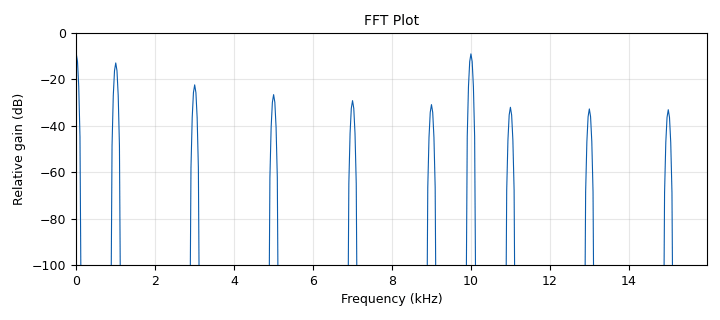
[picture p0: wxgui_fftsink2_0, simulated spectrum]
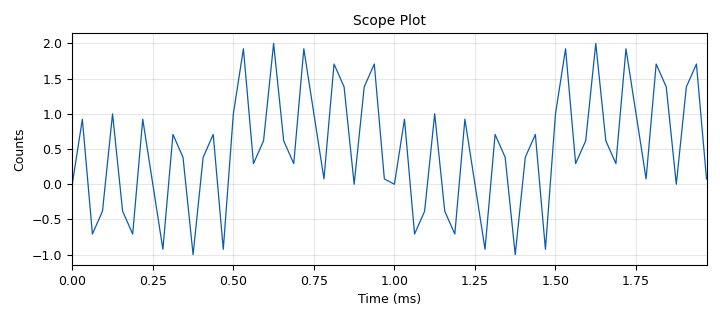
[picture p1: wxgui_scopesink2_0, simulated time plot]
<?xml version='1.0' encoding='utf-8'?>
<?grc format='1' created='3.7.9'?>
<flow_graph>
<block>
<key>options</key>
<param><key>id</key><value>top_block</value></param>
<param><key>category</key><value>Custom</value></param>
<param><key>generate_options</key><value>wx_gui</value></param>
</block>
<block>
<key>variable</key>
<param><key>id</key><value>samp_rate</value></param>
<param><key>value</key><value>variable_slider_0</value></param>
</block>
<block>
<key>variable_slider</key>
<param><key>id</key><value>variable_slider_0</value></param>
<param><key>converver</key><value>float_converter</value></param>
<param><key>value</key><value>32e3</value></param>
<param><key>label</key><value>sample rate</value></param>
<param><key>max</key><value>10e6</value></param>
<param><key>min</key><value>32e3</value></param>
<param><key>num_steps</key><value>10</value></param>
<param><key>style</key><value>wx.SL_HORIZONTAL</value></param>
</block>
<block>
<key>analog_sig_source_x</key>
<param><key>id</key><value>analog_sig_source_x_0</value></param>
<param><key>amp</key><value>1</value></param>
<param><key>freq</key><value>10e3</value></param>
<param><key>offset</key><value>0</value></param>
<param><key>type</key><value>float</value></param>
<param><key>samp_rate</key><value>samp_rate</value></param>
<param><key>waveform</key><value>analog.GR_SIN_WAVE</value></param>
</block>
<block>
<key>analog_sig_source_x</key>
<param><key>id</key><value>analog_sig_source_x_0_0</value></param>
<param><key>amp</key><value>1</value></param>
<param><key>freq</key><value>1e3</value></param>
<param><key>offset</key><value>0</value></param>
<param><key>type</key><value>float</value></param>
<param><key>samp_rate</key><value>samp_rate</value></param>
<param><key>waveform</key><value>analog.GR_SQR_WAVE</value></param>
</block>
<block>
<key>audio_sink</key>
<param><key>id</key><value>audio_sink_0</value></param>
<param><key>samp_rate</key><value>48000</value></param>
</block>
<block>
<key>blocks_add_xx</key>
<param><key>id</key><value>blocks_add_xx_0</value></param>
<param><key>type</key><value>float</value></param>
</block>
<block>
<key>blocks_throttle</key>
<param><key>id</key><value>blocks_throttle_0</value></param>
<param><key>_enabled</key><value>0</value></param>
<param><key>samples_per_second</key><value>samp_rate</value></param>
<param><key>type</key><value>complex</value></param>
</block>
<block>
<key>wxgui_fftsink2</key>
<param><key>id</key><value>wxgui_fftsink2_0</value></param>
<param><key>avg_alpha</key><value>0</value></param>
<param><key>average</key><value>False</value></param>
<param><key>baseband_freq</key><value>0</value></param>
<param><key>fft_size</key><value>1024</value></param>
<param><key>freqvar</key><value>None</value></param>
<param><key>peak_hold</key><value>False</value></param>
<param><key>ref_level</key><value>0</value></param>
<param><key>ref_scale</key><value>2.0</value></param>
<param><key>fft_rate</key><value>15</value></param>
<param><key>samp_rate</key><value>samp_rate</value></param>
<param><key>title</key><value>FFT Plot</value></param>
<param><key>type</key><value>float</value></param>
<param><key>win</key><value>None</value></param>
<param><key>y_divs</key><value>10</value></param>
<param><key>y_per_div</key><value>10</value></param>
</block>
<block>
<key>wxgui_scopesink2</key>
<param><key>id</key><value>wxgui_scopesink2_0</value></param>
<param><key>ac_couple</key><value>False</value></param>
<param><key>num_inputs</key><value>1</value></param>
<param><key>samp_rate</key><value>samp_rate</value></param>
<param><key>t_scale</key><value>0</value></param>
<param><key>title</key><value>Scope Plot</value></param>
<param><key>trig_mode</key><value>wxgui.TRIG_MODE_AUTO</value></param>
<param><key>type</key><value>float</value></param>
<param><key>v_offset</key><value>0</value></param>
<param><key>v_scale</key><value>0</value></param>
<param><key>xy_mode</key><value>False</value></param>
<param><key>y_axis_label</key><value>Counts</value></param>
</block>
<connection><source_block_id>analog_sig_source_x_0</source_block_id><sink_block_id>blocks_add_xx_0</sink_block_id><source_key>0</source_key><sink_key>1</sink_key></connection>
<connection><source_block_id>analog_sig_source_x_0</source_block_id><sink_block_id>blocks_throttle_0</sink_block_id><source_key>0</source_key><sink_key>0</sink_key></connection>
<connection><source_block_id>analog_sig_source_x_0_0</source_block_id><sink_block_id>blocks_add_xx_0</sink_block_id><source_key>0</source_key><sink_key>0</sink_key></connection>
<connection><source_block_id>blocks_add_xx_0</source_block_id><sink_block_id>audio_sink_0</sink_block_id><source_key>0</source_key><sink_key>0</sink_key></connection>
<connection><source_block_id>blocks_add_xx_0</source_block_id><sink_block_id>wxgui_fftsink2_0</sink_block_id><source_key>0</source_key><sink_key>0</sink_key></connection>
<connection><source_block_id>blocks_add_xx_0</source_block_id><sink_block_id>wxgui_scopesink2_0</sink_block_id><source_key>0</source_key><sink_key>0</sink_key></connection>
<connection><source_block_id>blocks_throttle_0</source_block_id><sink_block_id>wxgui_fftsink2_0</sink_block_id><source_key>0</source_key><sink_key>0</sink_key></connection>
<connection><source_block_id>blocks_throttle_0</source_block_id><sink_block_id>wxgui_scopesink2_0</sink_block_id><source_key>0</source_key><sink_key>0</sink_key></connection>
</flow_graph>
